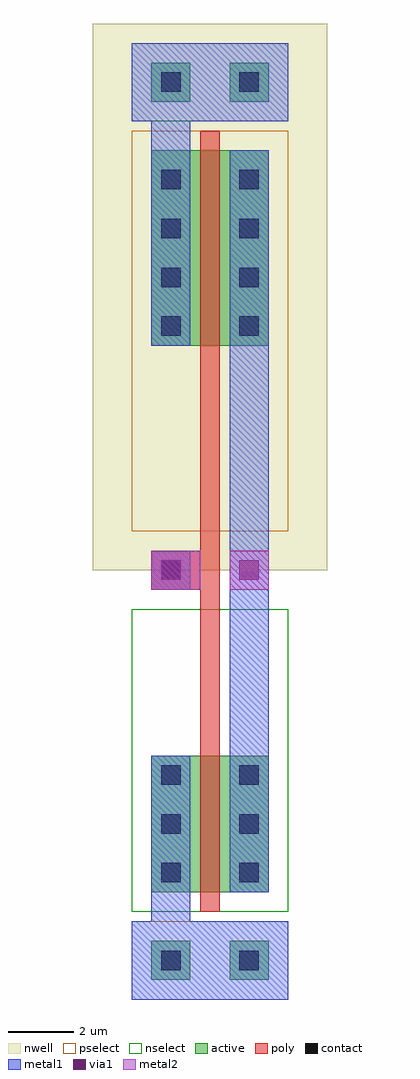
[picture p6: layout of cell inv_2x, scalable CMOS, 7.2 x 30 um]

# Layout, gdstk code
import gdstk
lib = gdstk.Library(unit=1e-6, precision=1e-09)
def R(c, l, rs):  # rectangles x0, y0, x1, y1
    for r in rs: c.add(gdstk.rectangle(r[:2], r[2:], *l))
def A(c, l, x, y, w, h, nx, ny, dx, dy):  # array of equal rectangles
    R(c, l, [(x+i*dx, y+j*dy, x+i*dx+w, y+j*dy+h) for i in range(nx) for j in range(ny)])
def P(c, l, *ps):  # polygons
    for p in ps: c.add(gdstk.Polygon(p, *l))
contact = (25, 0)
nwell = (42, 0)
active = (43, 0)
pselect = (44, 0)
nselect = (45, 0)
poly = (46, 0)
metal1 = (49, 0)
via1 = (50, 0)
metal2 = (51, 0)

inv_2x = lib.new_cell('inv_2x')
A(inv_2x, contact, 0.9, 2.4, 0.6, 0.6, 1, 3, 0, 1.5)
A(inv_2x, contact, 3.3, 2.4, 0.6, 0.6, 1, 3, 0, 1.5)
A(inv_2x, contact, 0.9, 19.2, 0.6, 0.6, 1, 4, 0, 1.5)
A(inv_2x, contact, 3.3, 19.2, 0.6, 0.6, 1, 4, 0, 1.5)
R(inv_2x, contact, [(0.9,-0.3,1.5,0.3), (3.3,-0.3,3.9,0.3), (0.9,11.7,1.5,12.3), (0.9,26.7,1.5,27.3), (3.3,26.7,3.9,27.3)])
R(inv_2x, nwell, [(-1.2,12,6,28.8)])
R(inv_2x, active, [(0.6,-0.6,1.8,0.6), (3,-0.6,4.2,0.6), (0.6,2.1,4.2,6.3), (0.6,18.9,4.2,24.9), (0.6,26.4,1.8,27.6), (3,26.4,4.2,27.6)])
R(inv_2x, pselect, [(0,-1.2,4.8,1.2), (0,13.2,4.8,25.5)])
R(inv_2x, nselect, [(0,1.5,4.8,10.8), (0,25.8,4.8,28.2)])
P(inv_2x, poly, [(2.7,25.5),(2.1,25.5),(2.1,12.6),(0.6,12.6),(0.6,11.4),(2.1,11.4),(2.1,1.5),(2.7,1.5)])
R(inv_2x, metal1, [(0,-1.2,4.8,1.2), (3,2.1,4.2,24.9), (0.6,11.4,1.8,12.6), (0,25.8,4.8,28.2)])
P(inv_2x, metal1, [(4.8,28.2),(0,28.2),(0,25.8),(0.6,25.8),(0.6,18.9),(1.8,18.9),(1.8,25.8),(4.8,25.8)],
  [(4.8,1.2),(1.8,1.2),(1.8,6.3),(0.6,6.3),(0.6,1.2),(0,1.2),(0,-1.2),(4.8,-1.2)])
R(inv_2x, via1, [(0.9,11.7,1.5,12.3), (3.3,11.7,3.9,12.3)])
R(inv_2x, metal2, [(0.6,11.4,2.1,12.6), (0.6,11.4,1.8,12.6), (0.6,11.4,1.8,12.6), (3,11.4,4.2,12.6), (3,11.4,4.2,12.6)])

lib.write_gds('inv_2x.gds')
